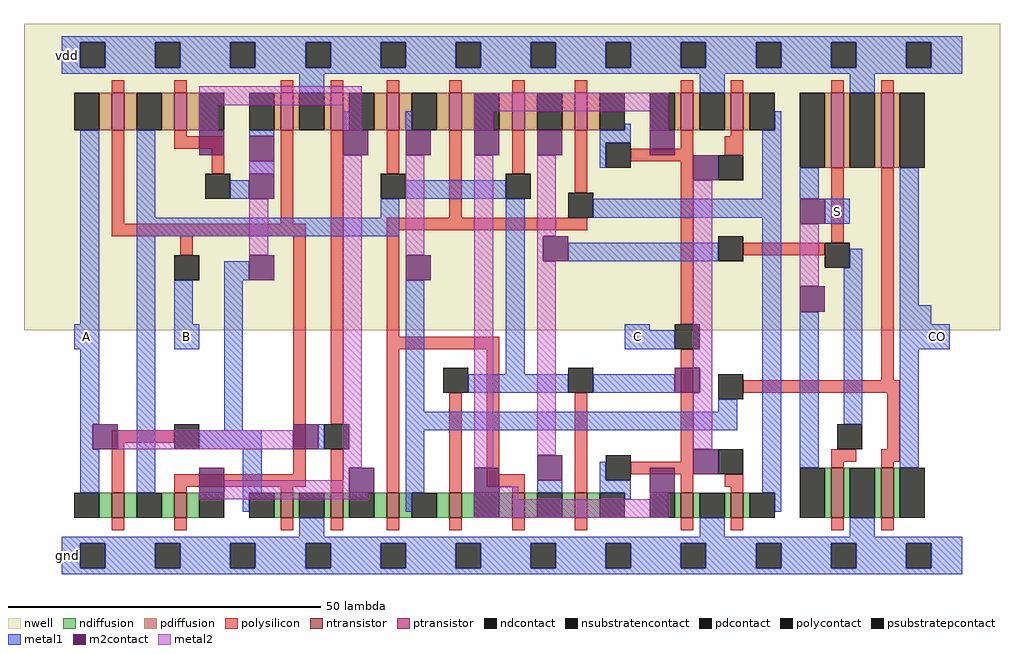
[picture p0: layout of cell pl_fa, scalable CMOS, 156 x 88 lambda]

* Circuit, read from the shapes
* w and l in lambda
.subckt pl_fa A B C S CO vdd gnd
M1 n1 n2 A gnd nfet w=4 l=2
M2 n3 B n1 gnd nfet w=4 l=2
M3 gnd B n2 gnd nfet w=4 l=2
M4 n3 A gnd gnd nfet w=4 l=2
M5 n4 n5 n3 gnd nfet w=4 l=2
M6 n6 n1 n4 gnd nfet w=4 l=2
M7 n7 n5 n6 gnd nfet w=4 l=2
M8 C n1 n7 gnd nfet w=4 l=2
M9 gnd C n6 gnd nfet w=4 l=2
M10 n5 n1 gnd gnd nfet w=4 l=2
M11 gnd n7 S gnd nfet w=8 l=2
M12 CO n4 gnd gnd nfet w=8 l=2
M13 n1 B A vdd pfet w=6 l=2
M14 n3 n2 n1 vdd pfet w=6 l=2
M15 vdd B n2 vdd pfet w=6 l=2
M16 n3 A vdd vdd pfet w=6 l=2
M17 n4 n1 n3 vdd pfet w=6 l=2
M18 n6 n5 n4 vdd pfet w=6 l=2
M19 n7 n1 n6 vdd pfet w=6 l=2
M20 C n5 n7 vdd pfet w=6 l=2
M21 vdd C n6 vdd pfet w=6 l=2
M22 n5 n1 vdd vdd pfet w=6 l=2
M23 vdd n7 S vdd pfet w=12 l=2
M24 CO n4 vdd vdd pfet w=12 l=2
.ends

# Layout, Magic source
magic
tech scmos
<< nwell >>
rect -6 36 150 85
<< ndiffusion >>
rect 6 6 8 10
rect 10 6 12 10
rect 16 6 18 10
rect 20 6 22 10
rect 34 6 35 10
rect 37 6 38 10
rect 42 6 43 10
rect 45 6 46 10
rect 50 6 52 10
rect 54 6 56 10
rect 60 6 62 10
rect 64 6 66 10
rect 70 6 72 10
rect 74 6 76 10
rect 80 6 82 10
rect 84 6 86 10
rect 98 6 99 10
rect 101 6 102 10
rect 106 6 107 10
rect 109 6 110 10
rect 122 6 123 14
rect 125 6 126 14
rect 130 6 131 14
rect 133 6 134 14
<< pdiffusion >>
rect 122 62 123 74
rect 125 62 126 74
rect 130 62 131 74
rect 133 62 134 74
rect 6 68 8 74
rect 10 68 12 74
rect 16 68 18 74
rect 20 68 22 74
rect 34 68 35 74
rect 37 68 38 74
rect 42 68 43 74
rect 45 68 46 74
rect 50 68 52 74
rect 54 68 56 74
rect 60 68 62 74
rect 64 68 66 74
rect 70 68 72 74
rect 74 68 76 74
rect 80 68 82 74
rect 84 68 86 74
rect 98 68 99 74
rect 101 68 102 74
rect 106 68 107 74
rect 109 68 110 74
<< polysilicon >>
rect 8 4 10 6
rect 18 4 20 6
rect 35 4 37 6
rect 43 4 45 6
rect 52 4 54 6
rect 62 4 64 6
rect 72 4 74 6
rect 82 4 84 6
rect 99 4 101 6
rect 107 4 109 6
rect 123 4 125 6
rect 131 4 133 6
rect 8 10 10 18
rect 18 10 20 11
rect 35 10 37 11
rect 43 10 45 17
rect 52 10 54 33
rect 62 10 64 26
rect 72 10 74 11
rect 82 10 84 26
rect 99 10 101 13
rect 107 10 109 11
rect 18 11 39 13
rect 68 11 74 13
rect 106 11 109 13
rect 37 13 39 51
rect 68 13 70 33
rect 91 13 101 15
rect 123 14 125 15
rect 131 14 133 15
rect 99 15 101 33
rect 123 15 127 17
rect 131 15 134 17
rect 132 17 134 26
rect 8 18 18 20
rect 43 21 45 68
rect 109 26 134 28
rect 131 28 133 62
rect 52 33 70 35
rect 52 35 54 52
rect 99 37 101 63
rect 19 48 21 51
rect 109 48 122 50
rect 123 50 125 62
rect 8 51 39 53
rect 52 52 84 54
rect 8 53 10 68
rect 35 53 37 68
rect 62 54 64 68
rect 82 58 84 68
rect 24 61 26 65
rect 52 61 54 68
rect 72 61 74 68
rect 91 63 101 65
rect 106 64 109 67
rect 18 65 26 67
rect 99 65 101 68
rect 18 67 20 68
rect 107 67 109 68
rect 8 74 10 76
rect 18 74 20 76
rect 35 74 37 76
rect 43 74 45 76
rect 52 74 54 76
rect 62 74 64 76
rect 72 74 74 76
rect 82 74 84 76
rect 99 74 101 76
rect 107 74 109 76
rect 123 74 125 76
rect 131 74 133 76
<< ntransistor >>
rect 8 6 10 10
rect 18 6 20 10
rect 35 6 37 10
rect 43 6 45 10
rect 52 6 54 10
rect 62 6 64 10
rect 72 6 74 10
rect 82 6 84 10
rect 99 6 101 10
rect 107 6 109 10
rect 123 6 125 14
rect 131 6 133 14
<< ptransistor >>
rect 123 62 125 74
rect 131 62 133 74
rect 8 68 10 74
rect 18 68 20 74
rect 35 68 37 74
rect 43 68 45 74
rect 52 68 54 74
rect 62 68 64 74
rect 72 68 74 74
rect 82 68 84 74
rect 99 68 101 74
rect 107 68 109 74
<< ndcontact >>
rect 2 6 6 10
rect 12 6 16 10
rect 22 6 26 10
rect 30 6 34 10
rect 38 6 42 10
rect 46 6 50 10
rect 56 6 60 10
rect 66 6 70 10
rect 76 6 80 10
rect 86 6 90 10
rect 94 6 98 10
rect 102 6 106 10
rect 110 6 114 10
rect 118 6 122 14
rect 126 6 130 14
rect 134 6 138 14
<< pdcontact >>
rect 118 62 122 74
rect 126 62 130 74
rect 134 62 138 74
rect 2 68 6 74
rect 12 68 16 74
rect 22 68 26 74
rect 30 68 34 74
rect 38 68 42 74
rect 46 68 50 74
rect 56 68 60 74
rect 66 68 70 74
rect 76 68 80 74
rect 86 68 90 74
rect 94 68 98 74
rect 102 68 106 74
rect 110 68 114 74
<< polycontact >>
rect 87 12 91 16
rect 105 13 109 17
rect 18 17 22 21
rect 42 17 46 21
rect 124 17 128 21
rect 105 25 109 29
rect 61 26 65 30
rect 81 26 85 30
rect 98 33 102 37
rect 18 44 22 48
rect 122 46 126 50
rect 105 47 109 51
rect 81 54 85 58
rect 23 57 27 61
rect 51 57 55 61
rect 71 57 75 61
rect 105 60 109 64
rect 87 62 91 66
<< psubstratepcontact >>
rect 3 -2 7 2
rect 15 -2 19 2
rect 27 -2 31 2
rect 39 -2 43 2
rect 51 -2 55 2
rect 63 -2 67 2
rect 75 -2 79 2
rect 87 -2 91 2
rect 99 -2 103 2
rect 111 -2 115 2
rect 123 -2 127 2
rect 135 -2 139 2
<< nsubstratencontact >>
rect 3 78 7 82
rect 15 78 19 82
rect 27 78 31 82
rect 39 78 43 82
rect 51 78 55 82
rect 63 78 67 82
rect 75 78 79 82
rect 87 78 91 82
rect 99 78 103 82
rect 111 78 115 82
rect 123 78 127 82
rect 135 78 139 82
<< metal1 >>
rect 0 -3 144 -2
rect 0 -2 3 2
rect 7 -2 15 2
rect 19 -2 27 2
rect 31 -2 39 2
rect 43 -2 51 2
rect 55 -2 63 2
rect 67 -2 75 2
rect 79 -2 87 2
rect 91 -2 99 2
rect 103 -2 111 2
rect 115 -2 123 2
rect 127 -2 135 2
rect 139 -2 144 2
rect 0 2 144 3
rect 38 3 42 6
rect 102 3 106 6
rect 126 3 130 6
rect 29 7 30 10
rect 55 7 56 10
rect 114 7 115 10
rect 90 9 91 10
rect 3 10 6 17
rect 12 10 15 51
rect 29 10 32 17
rect 55 10 58 20
rect 76 10 80 12
rect 86 10 91 12
rect 112 10 115 54
rect 86 12 87 15
rect 118 14 121 39
rect 134 14 137 33
rect 3 17 5 21
rect 22 17 32 20
rect 41 17 42 21
rect 26 20 29 44
rect 55 20 108 23
rect 3 21 6 33
rect 125 21 128 46
rect 55 23 58 44
rect 105 23 108 25
rect 65 26 81 29
rect 85 26 98 29
rect 71 29 74 57
rect 2 33 6 37
rect 18 33 22 37
rect 90 33 98 36
rect 134 33 142 37
rect 90 36 94 37
rect 3 37 6 68
rect 18 37 21 44
rect 134 37 139 40
rect 134 40 137 62
rect 26 44 30 47
rect 126 46 128 49
rect 81 47 105 50
rect 12 51 54 54
rect 122 53 126 57
rect 12 54 15 68
rect 51 54 54 57
rect 85 54 115 57
rect 27 57 30 60
rect 55 57 71 60
rect 112 57 115 68
rect 118 57 121 62
rect 30 61 34 63
rect 86 62 87 66
rect 86 66 91 68
rect 30 67 34 68
rect 45 68 46 71
rect 55 68 56 71
rect 90 68 91 69
rect 114 68 115 71
rect 38 74 42 77
rect 102 74 106 77
rect 126 74 130 77
rect 0 77 144 78
rect 0 78 3 82
rect 7 78 15 82
rect 19 78 27 82
rect 31 78 39 82
rect 43 78 51 82
rect 55 78 63 82
rect 67 78 75 82
rect 79 78 87 82
rect 91 78 99 82
rect 103 78 111 82
rect 115 78 123 82
rect 127 78 135 82
rect 139 78 144 82
rect 0 82 144 83
<< m2contact >>
rect 22 10 26 14
rect 46 10 50 14
rect 66 10 70 14
rect 94 10 98 14
rect 76 12 80 16
rect 101 13 105 17
rect 5 17 9 21
rect 37 17 41 21
rect 98 26 102 30
rect 118 39 122 43
rect 30 44 34 48
rect 55 44 59 48
rect 77 47 81 51
rect 118 53 122 57
rect 30 57 34 61
rect 101 60 105 64
rect 30 63 34 67
rect 22 64 26 68
rect 45 64 49 68
rect 55 64 59 68
rect 66 64 70 68
rect 76 64 80 68
rect 94 64 98 68
<< metal2 >>
rect 66 6 97 9
rect 22 9 49 10
rect 66 9 73 10
rect 94 9 97 10
rect 26 10 46 12
rect 70 10 73 11
rect 45 12 46 14
rect 45 14 48 64
rect 66 14 69 64
rect 76 16 79 47
rect 9 17 37 20
rect 101 17 104 26
rect 102 26 104 30
rect 101 30 104 60
rect 118 43 121 53
rect 76 47 77 51
rect 30 48 33 57
rect 55 48 58 64
rect 76 51 79 64
rect 30 61 34 63
rect 22 68 25 72
rect 45 68 48 72
rect 66 68 69 71
rect 94 68 97 71
rect 66 71 97 74
rect 22 72 48 75
<< labels >>
rlabel metal1 s 2 33 6 37 0 A
port 1 nsew signal input
rlabel metal1 s 18 33 22 37 0 B
port 2 nsew signal input
rlabel metal1 s 90 33 94 37 0 C
port 3 nsew signal input
rlabel metal1 s 122 53 126 57 0 S
port 4 nsew signal output
rlabel metal1 s 138 33 142 37 0 CO
port 5 nsew signal output
rlabel metal1 s 0 77 2 83 0 vdd
port 6 nsew power bidirectional
rlabel metal1 s 0 -3 2 3 0 gnd
port 7 nsew ground bidirectional
<< properties >>
string FIXED_BBOX 0 0 144 80
<< end >>
